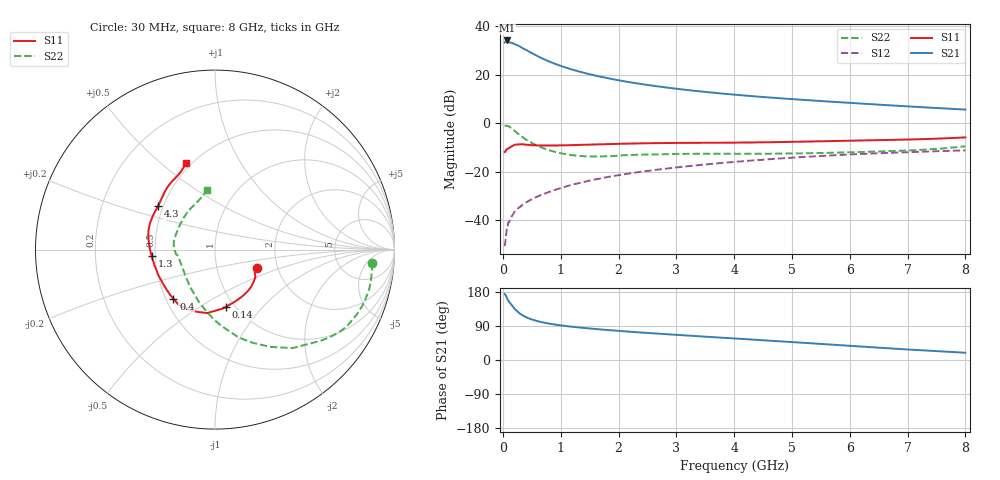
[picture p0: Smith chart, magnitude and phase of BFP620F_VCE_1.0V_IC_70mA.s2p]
! Infineon Technologies  Discrete & RF Semiconductors
! BFP620F
! VCE =  1.0 V,  IC =  70 mA
! Common Emitter S-Parameters:  Dec 2014
# GHz  S  MA  R  50
!  f  S11  S21  S12  S22
! GHz  MAG  ANG  MAG  ANG  MAG  ANG  MAG  ANG
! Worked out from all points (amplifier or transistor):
!   95 points, 30 MHz to 8 GHz, reference 50 ohm
!   highest |S21| = 34.1 dB at 70 MHz (marker M1)
!   |S21| within 3 dB of that: start of sweep to 328.8 MHz
!   unconditionally stable (mu >= 1): 1.502 GHz to end of sweep
!   at 300 MHz: K = 0.58, MSG = 33.0 dB, |S12| = -34.5 dB
!   at 3.3 GHz: K = 1.04, MAG = 14.3 dB, |S12| = -17.5 dB
!   at 8 GHz: K = 1.06, MAG = 7.0 dB, |S12| = -11.2 dB
!   S11 on the Smith chart (normalised r, x): 30 MHz: 1.56, -0.34; 140 MHz: 0.91, -0.65; 400 MHz: 0.55, -0.34; 1.3 GHz: 0.48, -0.04; 4.3 GHz: 0.47, +0.27; 8 GHz: 0.47, +0.61
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0.03  0.2532 -23.8  46.04 174.4  0.0029 79.7  0.8798 -5.0
0.05  0.2728 -34.5  49.4 170.3  0.0043 80.0  0.8866 -11.7
0.07  0.289 -46.0  50.74 163.8  0.007 86.4  0.8835 -17.8
0.09  0.2996 -57.3  49.32 157.9  0.0088 81.0  0.8702 -24.1
0.12  0.3136 -71.8  45.94 151.0  0.0099 74.6  0.8324 -33.3
0.14  0.3249 -79.4  45.44 147.3  0.0112 72.0  0.7943 -38.6
0.2  0.3565 -97.1  42.79 135.6  0.0147 71.1  0.6991 -51.7
0.25  0.3632 -108.4  40.53 128.4  0.0171 67.9  0.6227 -60.5
0.3  0.3655 -117.0  37.86 121.9  0.0189 66.8  0.5592 -68.1
0.35  0.367 -124.5  34.56 117.1  0.0212 66.3  0.5081 -74.8
0.4  0.3584 -130.2  32.46 113.2  0.0231 66.2  0.4561 -80.8
0.5  0.3507 -139.1  27.82 107.0  0.0269 66.3  0.3905 -90.8
0.7  0.3452 -152.3  21.09 98.9  0.0344 67.3  0.3041 -107.3
1  0.3486 -165.1  15.19 91.4  0.0459 67.7  0.2392 -127.6
1.3  0.3543 -174.1  11.76 86.1  0.0573 67.2  0.2119 -145.2
1.4  0.3581 -176.4  10.94 84.6  0.0612 67.0  0.2081 -150.2
2.7  0.3876 161.5  5.689 69.4  0.1108 60.4  0.2275 176.9
4.1  0.3972 144.9  3.782 55.9  0.1621 50.8  0.2329 161.3
4.3  0.3994 142.9  3.614 54.0  0.1695 49.4  0.2332 158.6
5.4  0.4201 133.2  2.91 43.4  0.207 40.8  0.2415 142.0
6.7  0.451 121.3  2.329 30.6  0.244 30.1  0.2651 121.5
8  0.5089 108.8  1.906 19.0  0.274 19.9  0.3327 97.8
